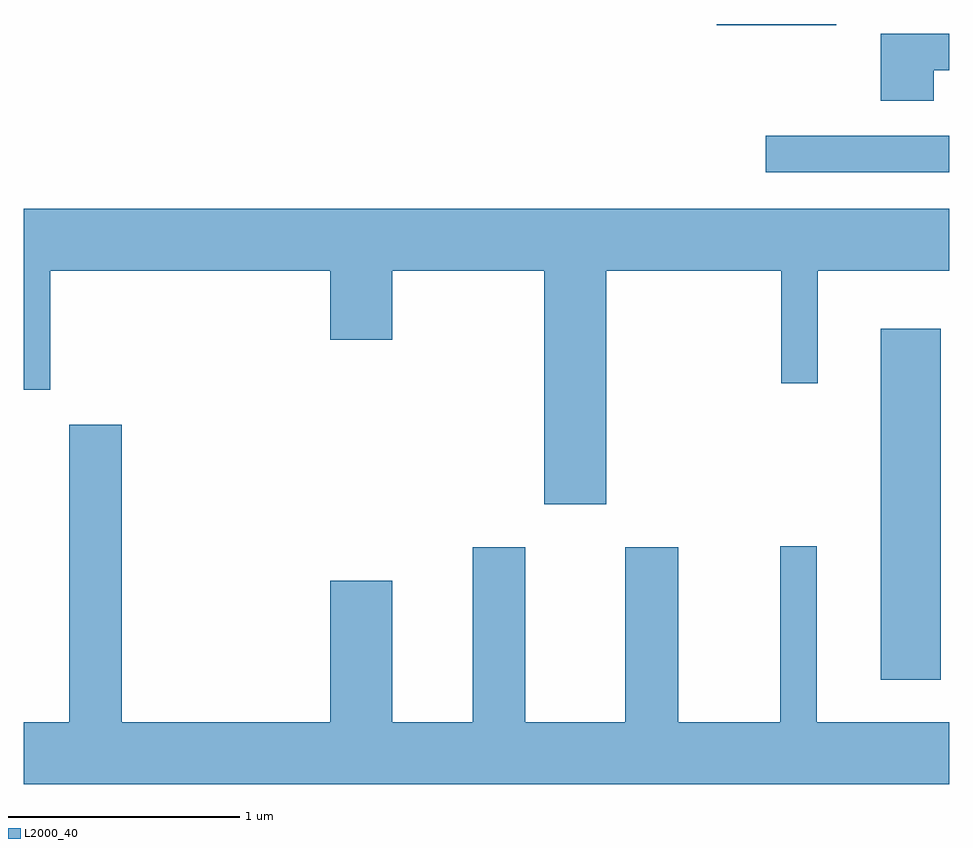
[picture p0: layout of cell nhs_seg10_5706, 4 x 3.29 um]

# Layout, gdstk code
import gdstk
lib = gdstk.Library(unit=1e-6, precision=1e-09)
def R(c, l, rs):  # rectangles x0, y0, x1, y1
    for r in rs: c.add(gdstk.rectangle(r[:2], r[2:], *l))
def P(c, l, *ps):  # polygons
    for p in ps: c.add(gdstk.Polygon(p, *l))
L2000_40 = (2000, 40)

nhs_seg10_5706 = lib.new_cell('nhs_seg10_5706')
R(nhs_seg10_5706, L2000_40, [(357.316,2127.686,357.574,2129.204), (356.818,2129.881,357.611,2130.039), (356.606,2130.516,357.124,2130.522)])
P(nhs_seg10_5706, L2000_40, [(357.544,2130.321),(357.611,2130.321),(357.611,2130.479),(357.316,2130.479),(357.316,2130.191),(357.544,2130.191)],
  [(356.129,2129.456),(356.886,2129.456),(356.886,2128.968),(357.044,2128.968),(357.044,2129.456),(357.611,2129.456),(357.611,2129.724),(353.611,2129.724),(353.611,2128.941),(353.724,2128.941),(353.724,2129.456),(354.936,2129.456),(354.936,2129.156),(355.204,2129.156),(355.204,2129.456),(355.861,2129.456),(355.861,2128.446),(356.129,2128.446)],
  [(357.611,2127.504),(357.039,2127.504),(357.039,2128.263),(356.881,2128.263),(356.881,2127.504),(356.439,2127.504),(356.439,2128.259),(356.211,2128.259),(356.211,2127.504),(355.779,2127.504),(355.779,2128.259),(355.551,2128.259),(355.551,2127.504),(355.204,2127.504),(355.204,2128.114),(354.936,2128.114),(354.936,2127.504),(354.034,2127.504),(354.034,2128.789),(353.806,2128.789),(353.806,2127.504),(353.611,2127.504),(353.611,2127.236),(357.611,2127.236)])

lib.write_gds('nhs_seg10_5706.gds')
